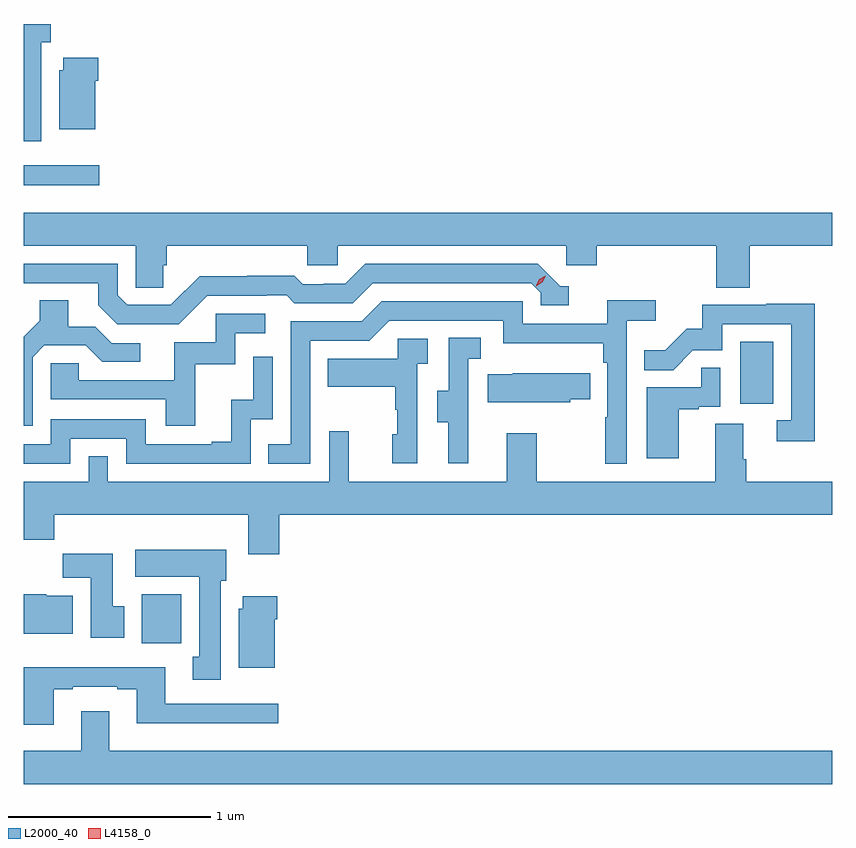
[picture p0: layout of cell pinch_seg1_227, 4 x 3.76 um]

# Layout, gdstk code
import gdstk
lib = gdstk.Library(unit=1e-6, precision=1e-09)
def R(c, l, rs):  # rectangles x0, y0, x1, y1
    for r in rs: c.add(gdstk.rectangle(r[:2], r[2:], *l))
def P(c, l, *ps):  # polygons
    for p in ps: c.add(gdstk.Polygon(p, *l))
L2000_40 = (2000, 40)
L4158_0 = (4158, 0)

pinch_seg1_227 = lib.new_cell('pinch_seg1_227')
R(pinch_seg1_227, L2000_40, [(959.603,565.748,959.8,565.99), (962.564,566.934,962.728,567.241), (959.02,568.016,959.392,568.113)])
P(pinch_seg1_227, L2000_40, [(959.107,568.722),(959.152,568.722),(959.152,568.813),(959.02,568.813),(959.02,568.233),(959.107,568.233)],
  [(959.374,568.532),(959.387,568.532),(959.387,568.645),(959.216,568.645),(959.216,568.584),(959.195,568.584),(959.195,568.292),(959.374,568.292)],
  [(959.711,567.618),(959.726,567.618),(959.726,567.716),(960.423,567.716),(960.423,567.618),(960.573,567.618),(960.573,567.716),(961.704,567.716),(961.704,567.618),(961.856,567.618),(961.856,567.716),(962.447,567.716),(962.447,567.508),(962.612,567.508),(962.612,567.716),(963.02,567.716),(963.02,567.88),(959.02,567.88),(959.02,567.716),(959.574,567.716),(959.574,567.508),(959.711,567.508)],
  [(959.928,567.468),(960.221,567.468),(960.221,567.471),(960.32,567.471),(960.359,567.432),(960.648,567.432),(960.747,567.531),(961.53,567.531),(961.578,567.483),(961.578,567.42),(961.717,567.42),(961.717,567.516),(961.674,567.516),(961.563,567.627),(960.71,567.627),(960.611,567.528),(960.504,567.528),(960.504,567.525),(960.401,567.525),(960.359,567.568),(960.126,567.568),(960.126,567.565),(959.89,567.565),(959.748,567.423),(959.532,567.423),(959.484,567.471),(959.484,567.627),(959.02,567.627),(959.02,567.531),(959.387,567.531),(959.387,567.421),(959.481,567.327),(959.787,567.327)],
  [(960.438,567.246),(960.729,567.246),(960.828,567.345),(961.392,567.345),(961.392,567.233),(961.888,567.233),(961.888,567.137),(961.908,567.137),(961.908,566.867),(961.896,566.867),(961.896,566.637),(962.004,566.637),(962.004,567.344),(962.146,567.344),(962.146,567.446),(961.907,567.446),(961.907,567.33),(961.488,567.33),(961.488,567.441),(960.791,567.441),(960.692,567.342),(960.342,567.342),(960.342,566.733),(960.229,566.733),(960.229,566.637),(960.438,566.637)],
  [(959.064,567.165),(959.121,567.222),(959.327,567.222),(959.408,567.141),(959.596,567.141),(959.596,567.234),(959.454,567.234),(959.374,567.314),(959.239,567.314),(959.239,567.446),(959.099,567.446),(959.099,567.344),(959.02,567.265),(959.02,566.826),(959.064,566.826)],
  [(962.933,567.428),(962.695,567.428),(962.695,567.423),(962.377,567.423),(962.377,567.306),(962.3,567.306),(962.193,567.199),(962.089,567.199),(962.089,567.1),(962.233,567.1),(962.331,567.198),(962.475,567.198),(962.475,567.327),(962.817,567.327),(962.817,566.853),(962.745,566.853),(962.745,566.748),(962.933,566.748)],
  [(959.867,567.129),(960.066,567.129),(960.066,567.282),(960.214,567.282),(960.214,567.378),(959.97,567.378),(959.97,567.237),(959.765,567.237),(959.765,567.051),(959.291,567.051),(959.291,567.135),(959.154,567.135),(959.154,566.955),(959.723,566.955),(959.723,566.826),(959.867,566.826)],
  [(961.22,566.853),(961.218,566.853),(961.218,567.157),(961.282,567.157),(961.282,567.26),(961.122,567.26),(961.122,566.997),(961.067,566.997),(961.067,566.842),(961.121,566.842),(961.121,566.64),(961.22,566.64)],
  [(960.966,567.131),(961.018,567.131),(961.018,567.255),(960.87,567.255),(960.87,567.157),(960.523,567.157),(960.523,567.017),(960.858,567.017),(960.858,566.903),(960.868,566.903),(960.868,566.784),(960.842,566.784),(960.842,566.64),(960.966,566.64)],
  [(959.25,566.76),(959.526,566.76),(959.526,566.637),(960.144,566.637),(960.144,566.856),(960.252,566.856),(960.252,567.166),(960.156,567.166),(960.156,566.954),(960.047,566.954),(960.047,566.746),(959.951,566.746),(959.951,566.733),(959.622,566.733),(959.622,566.856),(959.154,566.856),(959.154,566.733),(959.02,566.733),(959.02,566.637),(959.25,566.637)],
  [(962.26,566.907),(962.36,566.907),(962.36,566.919),(962.466,566.919),(962.466,567.113),(962.371,567.113),(962.371,567.015),(962.102,567.015),(962.102,566.664),(962.26,566.664)],
  [(961.725,566.956),(961.823,566.956),(961.823,567.085),(961.44,567.085),(961.44,567.079),(961.315,567.079),(961.315,566.942),(961.725,566.942)],
  [(960.284,566.384),(963.02,566.384),(963.02,566.548),(962.594,566.548),(962.594,566.66),(962.581,566.66),(962.581,566.834),(962.441,566.834),(962.441,566.548),(961.557,566.548),(961.557,566.788),(961.409,566.788),(961.409,566.548),(960.629,566.548),(960.629,566.797),(960.531,566.797),(960.531,566.548),(959.436,566.548),(959.436,566.675),(959.34,566.675),(959.34,566.548),(959.02,566.548),(959.02,566.26),(959.171,566.26),(959.171,566.384),(960.131,566.384),(960.131,566.19),(960.284,566.19)],
  [(959.995,566.058),(960.022,566.058),(960.022,566.212),(959.571,566.212),(959.571,566.078),(959.888,566.078),(959.888,565.682),(959.855,565.682),(959.855,565.569),(959.995,565.569)],
  [(959.518,565.932),(959.461,565.932),(959.461,566.191),(959.212,566.191),(959.212,566.072),(959.351,566.072),(959.351,565.776),(959.518,565.776)],
  [(959.263,565.984),(959.13,565.984),(959.13,565.99),(959.02,565.99),(959.02,565.796),(959.263,565.796)],
  [(960.262,565.868),(960.275,565.868),(960.275,565.981),(960.104,565.981),(960.104,565.92),(960.083,565.92),(960.083,565.628),(960.262,565.628)],
  [(959.167,565.521),(959.263,565.521),(959.263,565.533),(959.483,565.533),(959.483,565.521),(959.579,565.521),(959.579,565.352),(960.28,565.352),(960.28,565.449),(959.719,565.449),(959.719,565.63),(959.02,565.63),(959.02,565.344),(959.167,565.344)],
  [(963.02,565.216),(959.443,565.216),(959.443,565.411),(959.303,565.411),(959.303,565.216),(959.02,565.216),(959.02,565.052),(963.02,565.052)])
P(pinch_seg1_227, L4158_0, [(961.555,567.516),(961.555,567.517),(961.571,567.549),(961.602,567.568),(961.602,567.568),(961.602,567.568),(961.586,567.536),(961.555,567.516)])

lib.write_gds('pinch_seg1_227.gds')
